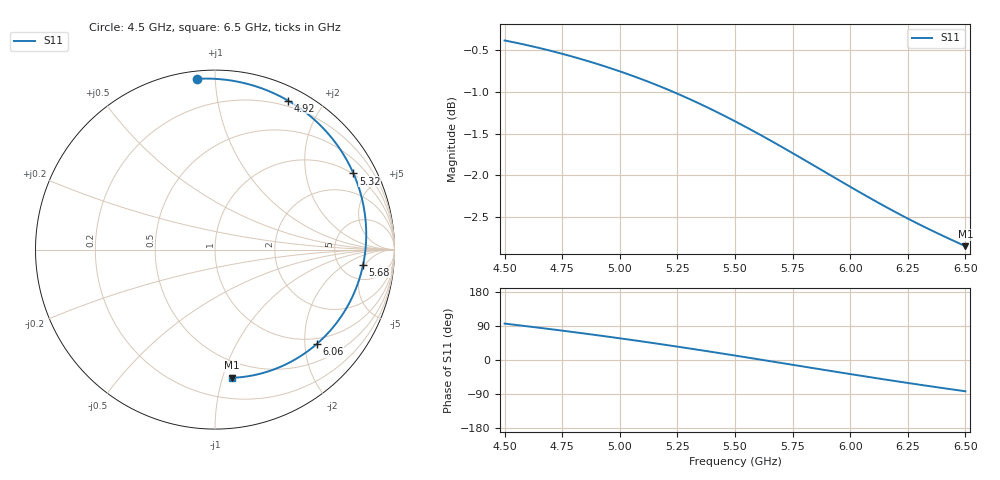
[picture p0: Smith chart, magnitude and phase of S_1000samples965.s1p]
! TOUCHSTONE file generated by CST MICROWAVE STUDIO
! Date and time: Sat Oct 29 22:50:20 2022
! Project name: L.cst
! Parameters = {Di=1.27; Epsilon_r=1.56; InnerDiameter=1.27; Length=2; Lf=10; Lg=60; OuterConductorThickness=0.2921; OuterDiameter=3.6; Wf=3; Wp=41.2; de=1.5; df=6.8; g=0.8; gx=2.1801; gy=4.82964; h=2.34; hf=1.524; px=10.0425; py=11.6692; w=9.7; wx=7.86239; wy=6.83959}
! Header version: 2018
! Port assignment regex: !\s*Touchstone port\s*([0-9]+)\s*=\s*(CST MWS port|CST DS port)\s*([0-9]+|Zmin|Zmax)\s*\(\"(.*)\"\)(\s*mode\s*([0-9]+))?.*
! Touchstone port assignment:
! Touchstone port 1 = CST MWS port 1 ("")
# GHz S DB R 50
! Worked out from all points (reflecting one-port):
!   101 points, 4.5 GHz to 6.5 GHz, reference 50 ohm
!   lowest |S11| = -2.8 dB at 6.5 GHz (marker M1), VSWR 6.15, Z = 18.1 - j53.7 ohm
!   phase of S11 starts at 96 deg and turns -179 deg over the sweep
!   S11 on the Smith chart (normalised r, x): 4.5 GHz: 0.04, +0.90; 4.92 GHz: 0.14, +1.59; 5.32 GHz: 0.97, +3.65; 5.68 GHz: 8.31, -4.46; 6.06 GHz: 0.87, -2.27; 6.5 GHz: 0.36, -1.07
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4.5  -0.39 96.0
4.58  -0.43 90.3
4.64  -0.47 85.8
4.7  -0.51 81.3
4.76  -0.55 76.7
4.84  -0.61 70.4
4.92  -0.68 63.9
5  -0.75 57.2
5.06  -0.81 52.1
5.12  -0.88 46.9
5.2  -0.96 39.8
5.26  -1.03 34.3
5.32  -1.11 28.8
5.42  -1.24 19.4
5.5  -1.35 11.7
5.58  -1.47 4.0
5.68  -1.62 -5.8
5.76  -1.75 -13.6
5.82  -1.85 -19.5
5.88  -1.94 -25.4
5.94  -2.04 -31.3
6  -2.14 -37.1
6.06  -2.23 -42.8
6.16  -2.39 -52.3
6.26  -2.53 -61.5
6.32  -2.62 -66.9
6.38  -2.70 -72.2
6.5  -2.85 -82.5
